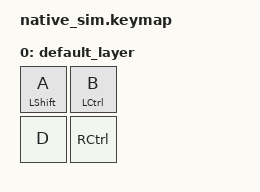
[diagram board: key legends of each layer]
#include <dt-bindings/zmk/keys.h>
#include <behaviors.dtsi>
#include <dt-bindings/zmk/input_mock.h>

/ {
    behaviors {
        ht_bal: behavior_hold_tap_balanced {
            compatible = "zmk,behavior-hold-tap";
            #binding-cells = <2>;
            flavor = "balanced";
            tapping-term-ms = <100>;
            quick-tap-ms = <300>;
            bindings = <&kp>, <&kp>;
            hold-while-undecided;
            hold-while-undecided-linger;
        };
    };

    keymap {
        compatible = "zmk,keymap";

        default_layer {
            bindings = <
                &ht_bal LEFT_SHIFT A &ht_bal LEFT_CONTROL B
                &kp D &kp RIGHT_CONTROL>;
        };
    };
};

&mock_input {
    events = <
        ZMK_INPUT_MOCK_PRESS(0,0,10)
        ZMK_INPUT_MOCK_RELEASE(0,0,10)
    >;
};
